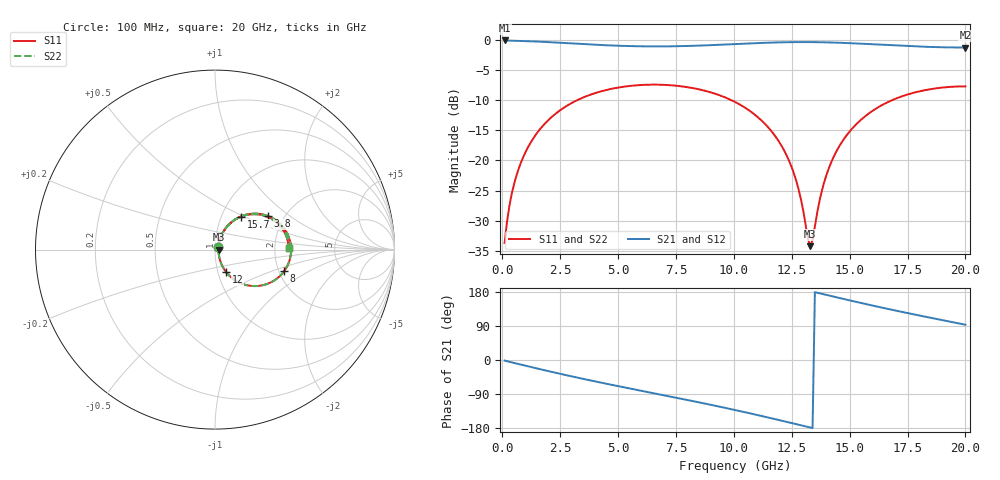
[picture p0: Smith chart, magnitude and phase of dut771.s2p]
! Touchstone file exported from HFSS 2026.1.0
!  File:  C:/ffzhzh/LocalFiles/Ansys_Project_Files/temp_train_TSV_RDL_771_1783209060_18472.aedt
!  Generated:  08:05:46 AM Jul  5, 2026
!  Design:  TSV_RDL
!  Project:  temp_train_TSV_RDL_771_1783209060_18472
! Variables:
!  h_bsmrdl = 5.83um
!  h_ox = 20um
!  h_rdl = 5um
!  h_sub = 88.76um
!  h_tmrdl = 3.4um
!  h_tsv = 88.76um
!  h_via = 3um
!  l_bsmrdl = 352.65um
!  l_sub = 4464.94um
!  l_tmrdl = 712.35um
!  m_sub = 200um
!  pitch = 46.7um
!  r_tsv = 6.17um
!  s_tmrdl = 10um
!  w_bsmrdl = 24.32um
!  w_sub = 500um
!  w_tmrdl = 28.21um
!  x_tsv_center1 = 726.455um
!  x_tsv_center2 = 1103.425um
!  x_tsv_center3 = 1843.985um
!  x_tsv_center4 = 2220.955um
!  x_tsv_center5 = 2961.515um
!  x_tsv_center6 = 3338.485um
# GHz S MA R 50.000000
! Terminal data exported
! Port[1] = TM_RDL1_1_T1
! Port[2] = TM_RDL5_1_T1
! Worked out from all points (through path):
!   200 points, 100 MHz to 20 GHz, reference 50 ohm
!   highest |S21| = -0.14 dB at 100 MHz (marker M1); lowest = -1.3 dB at 20 GHz (marker M2)
!   group delay of S21, straight-line fit = 37 ps
!   lowest |S11| = -34.2 dB at 13.3 GHz (marker M3), VSWR 1.04, Z = 52 - j0.0742 ohm
!   |S11| at or under -10 dB: start of sweep to 3.249 GHz; 9.88 GHz to 16.85 GHz (6.971 GHz wide, 52.2 % of centre)
!   |S22| runs from -34.2 to -7.5 dB; largest |S21 - S12| = 5e-14
!   S11 on the Smith chart (normalised r, x): 100 MHz: 1.03, +0.03; 3.8 GHz: 1.65, +0.70; 8 GHz: 2.14, -0.61; 12 GHz: 1.09, -0.28; 15.7 GHz: 1.24, +0.48; 20 GHz: 2.39, +0.06
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0.1  0.02081 37.7  0.9838 -1.6  0.9838 -1.6  0.02081 37.7
! Gamma 0 0 0 0
! Port Impedance 50 0 50 0
0.3  0.04132 59.4  0.9812 -4.7  0.9812 -4.7  0.04132 59.4
0.5  0.06287 64.5  0.9789 -7.6  0.9789 -7.6  0.06287 64.5
1.1  0.1275 63.9  0.9708 -16.5  0.9708 -16.5  0.1275 63.9
2.1  0.226 53.2  0.9509 -30.9  0.9509 -30.9  0.226 53.2
3.5  0.3323 35.9  0.9178 -49.9  0.9178 -49.9  0.3323 35.9
3.8  0.3498 32.3  0.9112 -53.8  0.9112 -53.8  0.3498 32.3
6.8  0.4235 -3.2  0.8782 -90.9  0.8782 -90.9  0.4235 -3.2
8  0.4039 -17.2  0.8856 -105.6  0.8856 -105.6  0.4039 -17.2
10.1  0.3014 -42.4  0.9192 -132.6  0.9192 -132.6  0.3014 -42.5
11.2  0.2137 -55.6  0.9386 -147.8  0.9386 -147.8  0.2137 -55.6
12  0.1381 -63.8  0.9491 -159.2  0.9491 -159.2  0.1381 -63.9
12.7  0.06736 -65.0  0.9538 -169.3  0.9538 -169.3  0.06732 -65.1
13.3  0.01953 -2.1  0.9538 -178.1  0.9538 -178.1  0.01943 -2.1
13.4  0.02197 25.5  0.9534 -179.6  0.9534 -179.6  0.02189 25.7
13.8  0.056 62.1  0.9508 174.6  0.9508 174.6  0.05598 62.2
14.2  0.09602 65.2  0.9467 168.8  0.9467 168.8  0.09602 65.2
14.8  0.1548 61.3  0.938 160.2  0.938 160.2  0.1548 61.3
15.7  0.2345 51.6  0.9208 147.6  0.9208 147.6  0.2345 51.6
16.7  0.307 39.8  0.8997 134.2  0.8997 134.2  0.307 39.8
18.3  0.3831 21.0  0.8716 113.8  0.8716 113.8  0.3832 20.9
20  0.4104 1.5  0.8597 93.1  0.8597 93.1  0.4105 1.5
